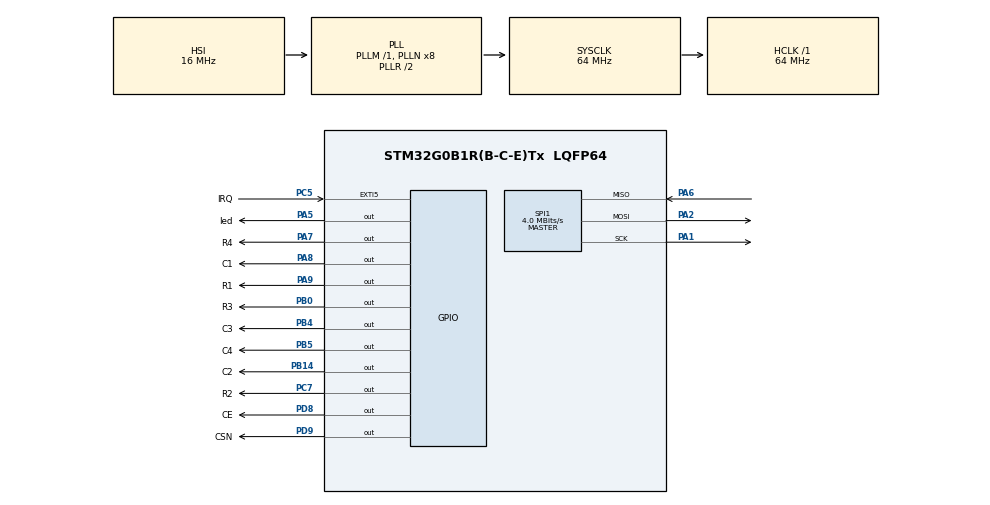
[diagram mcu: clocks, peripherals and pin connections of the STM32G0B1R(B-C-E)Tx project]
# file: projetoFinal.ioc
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Mcu.Family=STM32G0
Mcu.Name=STM32G0B1R(B-C-E)Tx
Mcu.Package=LQFP64
NVIC.TIM2_IRQn=true\:0\:0\:false\:false\:true\:true\:true
PA1.Mode=Full_Duplex_Master
PA1.Signal=SPI1_SCK
PA13.Mode=Serial_Wire
PA13.Signal=SYS_SWDIO
PA14-BOOT0.Mode=Serial_Wire
PA14-BOOT0.Signal=SYS_SWCLK
PA2.Mode=Full_Duplex_Master
PA2.Signal=SPI1_MOSI
PA5.GPIO_Label=led
PA5.Signal=GPIO_Output
PA6.Mode=Full_Duplex_Master
PA6.Signal=SPI1_MISO
PA7.GPIO_Label=R4
PA7.Signal=GPIO_Output
PA8.GPIO_Label=C1
PA8.Signal=GPIO_Output
PA9.GPIO_Label=R1
PA9.Signal=GPIO_Output
PB0.GPIO_Label=R3
PB0.Signal=GPIO_Output
PB14.GPIO_Label=C2
PB14.Signal=GPIO_Output
PB4.GPIO_Label=C3
PB4.Signal=GPIO_Output
PB5.GPIO_Label=C4
PB5.Signal=GPIO_Output
PC5.GPIO_Label=IRQ
PC5.Signal=GPXTI5
PC7.GPIO_Label=R2
PC7.Signal=GPIO_Output
PD8.GPIO_Label=CE
PD8.GPIO_Speed=GPIO_SPEED_FREQ_VERY_HIGH
PD8.PinState=GPIO_PIN_SET
PD8.Signal=GPIO_Output
PD9.GPIO_Label=CSN
PD9.GPIO_Speed=GPIO_SPEED_FREQ_VERY_HIGH
PD9.Signal=GPIO_Output
ProjectManager.HeapSize=0x200
ProjectManager.StackSize=0x400
ProjectManager.TargetToolchain=STM32CubeIDE
RCC.ADCFreq_Value=64000000
RCC.AHBFreq_Value=64000000
RCC.CortexFreq_Value=64000000
RCC.EXTERNAL_CLOCK_VALUE=48000
RCC.HCLKFreq_Value=64000000
RCC.HSE_VALUE=8000000
RCC.HSI48_VALUE=48000000
RCC.HSI_VALUE=16000000
RCC.LSE_VALUE=32768
RCC.SYSCLKFreq_VALUE=64000000
RCC.SYSCLKSource=RCC_SYSCLKSOURCE_PLLCLK
RCC.USBFreq_Value=48000000
RCC.VCOOutputFreq_Value=128000000
SPI1.BaudRatePrescaler=SPI_BAUDRATEPRESCALER_16
SPI1.CalculateBaudRate=4.0 MBits/s
SPI1.Direction=SPI_DIRECTION_2LINES
SPI1.Mode=SPI_MODE_MASTER
SPI1.VirtualType=VM_MASTER
TIM2.Period=999
TIM2.Prescaler=63999
VP_SYS_VS_DBSignals.Mode=DisableDeadBatterySignals
VP_TIM2_VS_ClockSourceINT.Mode=Internal
board=custom

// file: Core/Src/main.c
/* USER CODE BEGIN Header */
/**
  ******************************************************************************
  * @file           : main.c
  * @brief          : Main program body
  ******************************************************************************
  * @attention
  *
  * Copyright (c) 2022 STMicroelectronics.
  * All rights reserved.
  *
  * This software is licensed under terms that can be found in the LICENSE file
  * in the root directory of this software component.
  * If no LICENSE file comes with this software, it is provided AS-IS.
  *
  ******************************************************************************
  */
/* USER CODE END Header */
#include "main.h"

/* USER CODE BEGIN Includes */
#include <stdint.h>

#include "string.h"

#include "nrf24.h"

/* USER CODE END Includes */

/* USER CODE BEGIN PTD */
	uint8_t row[4] = {0};
	uint8_t XY[2] = {0};
	uint8_t teste = 0, i  = 0, timer;
/* USER CODE END PTD */

SPI_HandleTypeDef hspi1;

TIM_HandleTypeDef htim2;

void SystemClock_Config(void);
static void MX_GPIO_Init(void);
static void MX_SPI1_Init(void);
static void MX_TIM2_Init(void);
/* USER CODE BEGIN PFP */
	HAL_TIM_PeriodElapsedCallback(TIM_HandleTypeDef *htim){
		timer++;
	}
/* USER CODE END PFP */

/* USER CODE BEGIN 0 */
uint8_t data_array[4];
uint8_t tx_address[5] = {0xE7,0xE7,0xE7,0xE7,0xE7};
uint8_t rx_address[5] = {0xD7,0xD7,0xD7,0xD7,0xD7};
/* USER CODE END 0 */

int main(void)
{

  /* MCU Configuration--------------------------------------------------------*/

  /* Reset of all peripherals, Initializes the Flash interface and the Systick. */
  HAL_Init();

  /* Configure the system clock */
  SystemClock_Config();

  /* Initialize all configured peripherals */
  MX_GPIO_Init();
  MX_SPI1_Init();
  MX_TIM2_Init();
  /* USER CODE BEGIN 2 */
  nrf24_init();

  nrf24_config(2, 1);

	nrf24_tx_address(tx_address);
	nrf24_rx_address(rx_address);

  /* USER CODE END 2 */

  /* Infinite loop */
  /* USER CODE BEGIN WHILE */
  while (1)
  {
	  //MATRIZ 4x4 ---------------------
		for(int x = 0; x < 4; x++){

			switch(x){
				case 0:
					row[0] = 1;
					row[3] = 0;
					break;
				case 1:
					row[1] = 1;
					row[0] = 0;
					break;
				case 2:
					row[2] = 1;
					row[1] = 0;
					break;
				case 3:
					row[3] = 1;
					row[2] = 0;
					break;
				default:
				break;

			}

			HAL_GPIO_WritePin(R1_GPIO_Port, R1_Pin, row[0]);
			HAL_GPIO_WritePin(R2_GPIO_Port, R2_Pin, row[1]);
			HAL_GPIO_WritePin(R3_GPIO_Port, R3_Pin, row[2]);
			HAL_GPIO_WritePin(R4_GPIO_Port, R4_Pin, row[3]);

			if (HAL_GPIO_ReadPin(C1_GPIO_Port, C1_Pin)) {
				//displayNum(x*4);
				teste = x*4;
				XY[0] = x;
				XY[1] = 1;
				i++;
				while(HAL_GPIO_ReadPin(C1_GPIO_Port, C1_Pin));
			}
			else if(HAL_GPIO_ReadPin(C2_GPIO_Port, C2_Pin)){
				//displayNum(1+x*4);
				teste = 1+x*4;
				XY[0] = x;
				XY[1] = 2;
				i++;
				while(HAL_GPIO_ReadPin(C2_GPIO_Port, C2_Pin));
			}
			else if(HAL_GPIO_ReadPin(C3_GPIO_Port, C3_Pin)){
				//displayNum(2+x*4);
				teste = 2+x*4;
				XY[0] = x;
				XY[1] = 3;
				i++;
				while(HAL_GPIO_ReadPin(C3_GPIO_Port, C3_Pin));
			}
			else if(HAL_GPIO_ReadPin(C4_GPIO_Port, C4_Pin)){
				//displayNum(3+x*4);
				teste = 3+x*4;
				XY[0] = x;
				XY[1] = 3;
				i++;
				while(HAL_GPIO_ReadPin(C4_GPIO_Port, C4_Pin));
			}
		}

	  //NRF TRANSMIT -------------------
	  HAL_GPIO_WritePin(led_GPIO_Port, led_Pin, GPIO_PIN_SET);
	  data_array[0]++;
	  nrf24_send(data_array);
	  HAL_Delay(50);
	  HAL_GPIO_WritePin(led_GPIO_Port, led_Pin, GPIO_PIN_RESET);

	  HAL_Delay(1000);
    /* USER CODE END WHILE */

  }
}

void SystemClock_Config(void)
{
  RCC_OscInitTypeDef RCC_OscInitStruct = {0};
  RCC_ClkInitTypeDef RCC_ClkInitStruct = {0};

  /** Configure the main internal regulator output voltage
  */
  HAL_PWREx_ControlVoltageScaling(PWR_REGULATOR_VOLTAGE_SCALE1);
  /** Initializes the RCC Oscillators according to the specified parameters
  * in the RCC_OscInitTypeDef structure.
  */
  RCC_OscInitStruct.OscillatorType = RCC_OSCILLATORTYPE_HSI;
  RCC_OscInitStruct.HSIState = RCC_HSI_ON;
  RCC_OscInitStruct.HSIDiv = RCC_HSI_DIV1;
  RCC_OscInitStruct.HSICalibrationValue = RCC_HSICALIBRATION_DEFAULT;
  RCC_OscInitStruct.PLL.PLLState = RCC_PLL_ON;
  RCC_OscInitStruct.PLL.PLLSource = RCC_PLLSOURCE_HSI;
  RCC_OscInitStruct.PLL.PLLM = RCC_PLLM_DIV1;
  RCC_OscInitStruct.PLL.PLLN = 8;
  RCC_OscInitStruct.PLL.PLLP = RCC_PLLP_DIV2;
  RCC_OscInitStruct.PLL.PLLQ = RCC_PLLQ_DIV2;
  RCC_OscInitStruct.PLL.PLLR = RCC_PLLR_DIV2;
  if (HAL_RCC_OscConfig(&RCC_OscInitStruct) != HAL_OK)
  {
    Error_Handler();
  }
  /** Initializes the CPU, AHB and APB buses clocks
  */
  RCC_ClkInitStruct.ClockType = RCC_CLOCKTYPE_HCLK|RCC_CLOCKTYPE_SYSCLK
                              |RCC_CLOCKTYPE_PCLK1;
  RCC_ClkInitStruct.SYSCLKSource = RCC_SYSCLKSOURCE_PLLCLK;
  RCC_ClkInitStruct.AHBCLKDivider = RCC_SYSCLK_DIV1;
  RCC_ClkInitStruct.APB1CLKDivider = RCC_HCLK_DIV1;

  if (HAL_RCC_ClockConfig(&RCC_ClkInitStruct, FLASH_LATENCY_2) != HAL_OK)
  {
    Error_Handler();
  }
}

static void MX_SPI1_Init(void)
{

  /* SPI1 parameter configuration*/
  hspi1.Instance = SPI1;
  hspi1.Init.Mode = SPI_MODE_MASTER;
  hspi1.Init.Direction = SPI_DIRECTION_2LINES;
  hspi1.Init.DataSize = SPI_DATASIZE_8BIT;
  hspi1.Init.CLKPolarity = SPI_POLARITY_LOW;
  hspi1.Init.CLKPhase = SPI_PHASE_1EDGE;
  hspi1.Init.NSS = SPI_NSS_SOFT;
  hspi1.Init.BaudRatePrescaler = SPI_BAUDRATEPRESCALER_16;
  hspi1.Init.FirstBit = SPI_FIRSTBIT_MSB;
  hspi1.Init.TIMode = SPI_TIMODE_DISABLE;
  hspi1.Init.CRCCalculation = SPI_CRCCALCULATION_DISABLE;
  hspi1.Init.CRCPolynomial = 7;
  hspi1.Init.CRCLength = SPI_CRC_LENGTH_DATASIZE;
  hspi1.Init.NSSPMode = SPI_NSS_PULSE_ENABLE;
  if (HAL_SPI_Init(&hspi1) != HAL_OK)
  {
    Error_Handler();
  }

}

static void MX_TIM2_Init(void)
{

  TIM_ClockConfigTypeDef sClockSourceConfig = {0};
  TIM_MasterConfigTypeDef sMasterConfig = {0};

  htim2.Instance = TIM2;
  htim2.Init.Prescaler = 63999;
  htim2.Init.CounterMode = TIM_COUNTERMODE_UP;
  htim2.Init.Period = 999;
  htim2.Init.ClockDivision = TIM_CLOCKDIVISION_DIV1;
  htim2.Init.AutoReloadPreload = TIM_AUTORELOAD_PRELOAD_DISABLE;
  if (HAL_TIM_Base_Init(&htim2) != HAL_OK)
  {
    Error_Handler();
  }
  sClockSourceConfig.ClockSource = TIM_CLOCKSOURCE_INTERNAL;
  if (HAL_TIM_ConfigClockSource(&htim2, &sClockSourceConfig) != HAL_OK)
  {
    Error_Handler();
  }
  sMasterConfig.MasterOutputTrigger = TIM_TRGO_RESET;
  sMasterConfig.MasterSlaveMode = TIM_MASTERSLAVEMODE_DISABLE;
  if (HAL_TIMEx_MasterConfigSynchronization(&htim2, &sMasterConfig) != HAL_OK)
  {
    Error_Handler();
  }

}

static void MX_GPIO_Init(void)
{
  GPIO_InitTypeDef GPIO_InitStruct = {0};

  /* GPIO Ports Clock Enable */
  __HAL_RCC_GPIOA_CLK_ENABLE();
  __HAL_RCC_GPIOC_CLK_ENABLE();
  __HAL_RCC_GPIOB_CLK_ENABLE();
  __HAL_RCC_GPIOD_CLK_ENABLE();

  /*Configure GPIO pin Output Level */
  HAL_GPIO_WritePin(GPIOA, led_Pin|R4_Pin|C1_Pin|R1_Pin, GPIO_PIN_RESET);

  /*Configure GPIO pin Output Level */
  HAL_GPIO_WritePin(GPIOB, R3_Pin|C2_Pin|C3_Pin|C4_Pin, GPIO_PIN_RESET);

  /*Configure GPIO pin Output Level */
  HAL_GPIO_WritePin(R2_GPIO_Port, R2_Pin, GPIO_PIN_RESET);

  /*Configure GPIO pin Output Level */
  HAL_GPIO_WritePin(CE_GPIO_Port, CE_Pin, GPIO_PIN_SET);

  /*Configure GPIO pin Output Level */
  HAL_GPIO_WritePin(CSN_GPIO_Port, CSN_Pin, GPIO_PIN_RESET);

  /*Configure GPIO pins : led_Pin R4_Pin C1_Pin R1_Pin */
  GPIO_InitStruct.Pin = led_Pin|R4_Pin|C1_Pin|R1_Pin;
  GPIO_InitStruct.Mode = GPIO_MODE_OUTPUT_PP;
  GPIO_InitStruct.Pull = GPIO_NOPULL;
  GPIO_InitStruct.Speed = GPIO_SPEED_FREQ_LOW;
  HAL_GPIO_Init(GPIOA, &GPIO_InitStruct);

  /*Configure GPIO pin : IRQ_Pin */
  GPIO_InitStruct.Pin = IRQ_Pin;
  GPIO_InitStruct.Mode = GPIO_MODE_IT_RISING;
  GPIO_InitStruct.Pull = GPIO_NOPULL;
  HAL_GPIO_Init(IRQ_GPIO_Port, &GPIO_InitStruct);

  /*Configure GPIO pins : R3_Pin C2_Pin C3_Pin C4_Pin */
  GPIO_InitStruct.Pin = R3_Pin|C2_Pin|C3_Pin|C4_Pin;
  GPIO_InitStruct.Mode = GPIO_MODE_OUTPUT_PP;
  GPIO_InitStruct.Pull = GPIO_NOPULL;
  GPIO_InitStruct.Speed = GPIO_SPEED_FREQ_LOW;
  HAL_GPIO_Init(GPIOB, &GPIO_InitStruct);

  /*Configure GPIO pin : R2_Pin */
  GPIO_InitStruct.Pin = R2_Pin;
  GPIO_InitStruct.Mode = GPIO_MODE_OUTPUT_PP;
  GPIO_InitStruct.Pull = GPIO_NOPULL;
  GPIO_InitStruct.Speed = GPIO_SPEED_FREQ_LOW;
  HAL_GPIO_Init(R2_GPIO_Port, &GPIO_InitStruct);

  /*Configure GPIO pins : CE_Pin CSN_Pin */
  GPIO_InitStruct.Pin = CE_Pin|CSN_Pin;
  GPIO_InitStruct.Mode = GPIO_MODE_OUTPUT_PP;
  GPIO_InitStruct.Pull = GPIO_NOPULL;
  GPIO_InitStruct.Speed = GPIO_SPEED_FREQ_VERY_HIGH;
  HAL_GPIO_Init(GPIOD, &GPIO_InitStruct);

}

void Error_Handler(void)
{
  __disable_irq();
  while (1)
  {
  }
}
